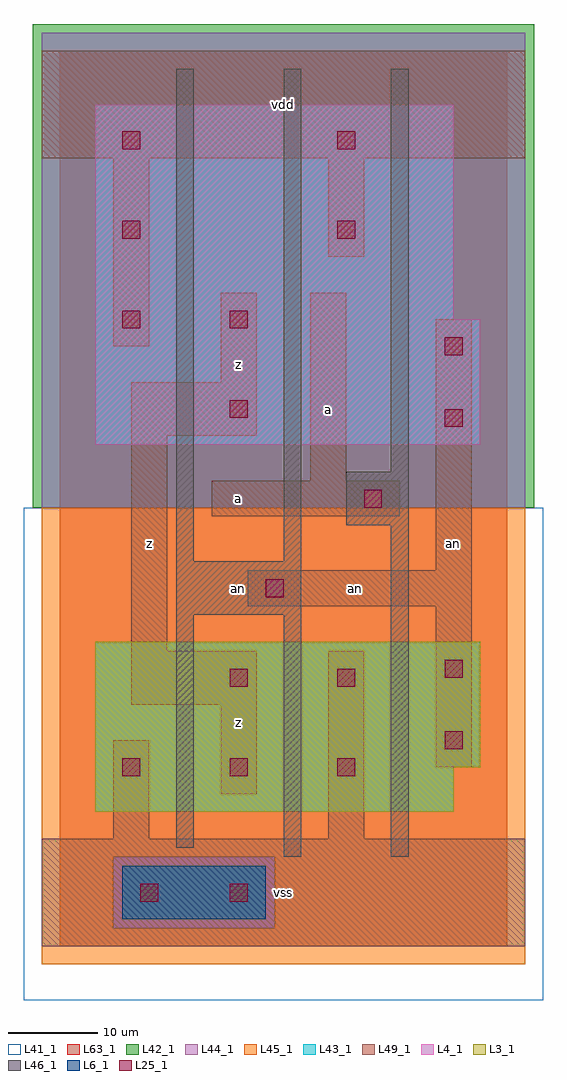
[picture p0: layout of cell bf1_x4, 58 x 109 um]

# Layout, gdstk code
import gdstk
lib = gdstk.Library(unit=1e-6, precision=1e-09)
def R(c, l, rs):  # rectangles x0, y0, x1, y1
    for r in rs: c.add(gdstk.rectangle(r[:2], r[2:], *l))
def A(c, l, x, y, w, h, nx, ny, dx, dy):  # array of equal rectangles
    R(c, l, [(x+i*dx, y+j*dy, x+i*dx+w, y+j*dy+h) for i in range(nx) for j in range(ny)])
L3_1 = (3, 1)
L4_1 = (4, 1)
L6_1 = (6, 1)
L25_1 = (25, 1)
L41_1 = (41, 1)
L42_1 = (42, 1)
L43_1 = (43, 1)
L44_1 = (44, 1)
L45_1 = (45, 1)
L46_1 = (46, 1)
L49_1 = (49, 1)
L63_1 = (63, 1)

bf1_x4 = lib.new_cell('bf1_x4')
R(bf1_x4, L3_1, [(4,15,44,20), (4,20,47,34)])
R(bf1_x4, L4_1, [(4,56,47,70), (4,70,44,94)])
R(bf1_x4, L6_1, [(7,3,23,9)])
A(bf1_x4, L25_1, 7, 19, 2, 2, 3, 1, 12, 0)
A(bf1_x4, L25_1, 7, 69, 2, 2, 1, 3, 0, 10)
R(bf1_x4, L25_1, [(9,5,11,7), (19,5,21,7), (43,22,45,24), (19,29,21,31), (31,29,33,31), (43,30,45,32), (23,39,25,41), (34,49,36,51), (43,58,45,60), (19,59,21,61), (43,66,45,68), (19,69,21,71), (31,79,33,81), (31,89,33,91)])
R(bf1_x4, L41_1, [(-4,-6,54,49), (-3,-3,53,49)])
R(bf1_x4, L42_1, [(-3,49,53,103)])
R(bf1_x4, L43_1, [(7,3,23,9), (4,15,44,20), (4,20,47,34), (4,56,47,70), (4,70,44,94)])
R(bf1_x4, L44_1, [(6,2,24,10), (-2,49,52,102)])
R(bf1_x4, L45_1, [(-2,-2,52,2), (-2,2,6,10), (24,2,52,10), (-2,10,52,49)])
R(bf1_x4, L46_1, [(25,10,27,37), (37,10,39,47), (13,11,15,37), (13,37,27,43), (13,43,15,98), (25,43,27,98), (32,47,39,53), (37,53,39,98)])
R(bf1_x4, L49_1, [(-2,0,52,12), (6,12,10,23), (30,12,34,33), (18,17,22,27), (42,20,46,38), (8,27,22,33), (8,33,12,57), (21,38,46,42), (42,42,46,70), (17,48,38,52), (28,52,32,73), (8,57,22,63), (18,63,22,73), (6,67,10,88), (30,77,34,88), (-2,88,52,100)])
R(bf1_x4, L63_1, [(0,0,50,100)])
bf1_x4.add(gdstk.Label('an', (20,40), layer=46, texttype=1))
bf1_x4.add(gdstk.Label('z', (20,25), layer=49, texttype=1))
bf1_x4.add(gdstk.Label('z', (20,25), layer=49, texttype=1))
bf1_x4.add(gdstk.Label('z', (10,45), layer=49, texttype=1))
bf1_x4.add(gdstk.Label('z', (10,45), layer=49, texttype=1))
bf1_x4.add(gdstk.Label('a', (20,50), layer=49, texttype=1))
bf1_x4.add(gdstk.Label('a', (20,50), layer=49, texttype=1))
bf1_x4.add(gdstk.Label('z', (20,65), layer=49, texttype=1))
bf1_x4.add(gdstk.Label('z', (20,65), layer=49, texttype=1))
bf1_x4.add(gdstk.Label('vss', (25,6), layer=49, texttype=1))
bf1_x4.add(gdstk.Label('vss', (25,6), layer=49, texttype=1))
bf1_x4.add(gdstk.Label('a', (30,60), layer=49, texttype=1))
bf1_x4.add(gdstk.Label('a', (30,60), layer=49, texttype=1))
bf1_x4.add(gdstk.Label('vdd', (25,94), layer=49, texttype=1))
bf1_x4.add(gdstk.Label('vdd', (25,94), layer=49, texttype=1))
bf1_x4.add(gdstk.Label('an', (33,40), layer=49, texttype=1))
bf1_x4.add(gdstk.Label('an', (44,45), layer=49, texttype=1))

lib.write_gds('bf1_x4.gds')
